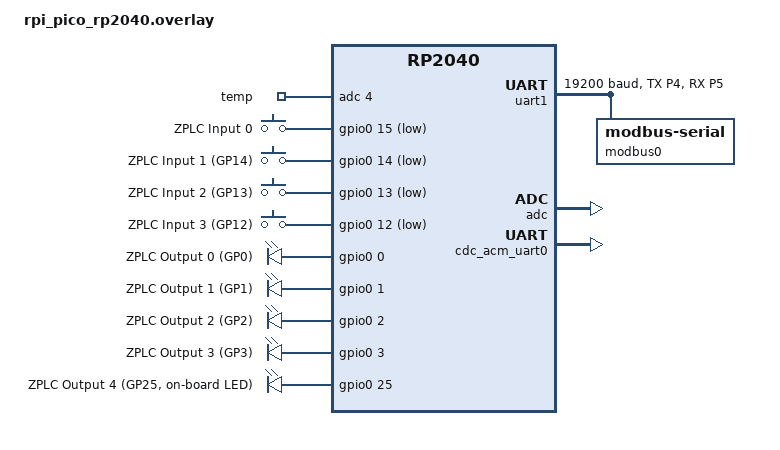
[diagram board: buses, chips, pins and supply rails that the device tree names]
/*
 * ZPLC Board Overlay - Raspberry Pi Pico (RP2040)
 * SPDX-License-Identifier: MIT
 *
 * The RPi Pico board defines led0 as the on-board LED (GP25). This profile
 * re-points led0 to GP0 so that DO0 to DO3 are four header pins, and maps the
 * on-board LED as led4 (DO4, %QX0.4).
 *
 * This overlay:
 *   - Enables USB CDC ACM as the console/shell interface
 *   - Maps four outputs (GP0-GP3) and the on-board LED (GP25)
 *   - Maps four inputs (GP15, GP14, GP13, GP12), switches to GND
 *   - Defines a storage partition for NVS (program persistence)
 *
 * The channels are listed, with their header pins and electrical notes, in the
 * I/O description of firmware/app/boards/boards.json (rpi-pico-rp2040); the
 * build fails when the description and this file disagree.
 *
 * Hardware connection:
 *   GP0..GP3   -> LED -> resistor -> GND   (outputs, header pins 1, 2, 4, 5)
 *   GP15..GP12 -> switch -> GND            (inputs, internal pull-up)
 *   GP4, GP5   -> Modbus RTU on UART1 (TX, RX; header pins 6, 7), 3.3 V logic:
 *                 an RS-485 transceiver or a 3.3 V USB-serial adapter
 *
 * UART0 of the board DTS (GP0, GP1) and I2C0 (GP4, GP5) are disabled: their pins
 * are DO0 and DO1, and the Modbus RTU port. The console stays on USB CDC ACM.
 *
 * Flash Layout (2MB total):
 *   0x000000 - 0x0000FF: second-stage bootloader
 *   0x000100 - 0x1DFFFF: Application code, code_partition (1920 KB less 256 bytes)
 *   0x1E0000 - 0x1FFFFF: NVS Storage (128 KB): two program slots of 24 KB, the two RETAIN records
 *                        and a spare sector, which 64 KB cannot hold (RT-025, RT-029)
 * The upstream code_partition runs to the end of the flash; it ends here before
 * the NVS storage, so the linker refuses an image that would grow into it (IO-008).
 */

/ {
    chosen {
        /* Use USB CDC ACM for console and shell */
        zephyr,console = &cdc_acm_uart0;
        zephyr,shell-uart = &cdc_acm_uart0;
    };

    zephyr,user {
        /* ADC channel 4 is the internal temperature sensor on RP2040 */
        io-channels = <&adc 4>;
        io-channel-names = "temp";
    };

    gpio_keys {
        compatible = "gpio-keys";
        
        /* User button on GPIO15 with internal pull-up */
        button0: button_0 {
            gpios = <&gpio0 15 (GPIO_PULL_UP | GPIO_ACTIVE_LOW)>;
            label = "ZPLC Input 0";
            zephyr,code = <0>;
        };
        button1: button_1 {
            gpios = <&gpio0 14 (GPIO_PULL_UP | GPIO_ACTIVE_LOW)>;
            label = "ZPLC Input 1 (GP14)";
            zephyr,code = <1>;
        };
        button2: button_2 {
            gpios = <&gpio0 13 (GPIO_PULL_UP | GPIO_ACTIVE_LOW)>;
            label = "ZPLC Input 2 (GP13)";
            zephyr,code = <2>;
        };
        button3: button_3 {
            gpios = <&gpio0 12 (GPIO_PULL_UP | GPIO_ACTIVE_LOW)>;
            label = "ZPLC Input 3 (GP12)";
            zephyr,code = <3>;
        };
    };
    
    leds {
        compatible = "gpio-leds";
        led0: led_0 {
            gpios = <&gpio0 0 GPIO_ACTIVE_HIGH>;
            label = "ZPLC Output 0 (GP0)";
        };
        led1: led_1 {
            gpios = <&gpio0 1 GPIO_ACTIVE_HIGH>;
            label = "ZPLC Output 1 (GP1)";
        };
        led2: led_2 {
            gpios = <&gpio0 2 GPIO_ACTIVE_HIGH>;
            label = "ZPLC Output 2 (GP2)";
        };
        led3: led_3 {
            gpios = <&gpio0 3 GPIO_ACTIVE_HIGH>;
            label = "ZPLC Output 3 (GP3)";
        };
        /* The on-board LED: led0 of the board DTS is re-pointed above, so it gets its own node (IO-009) */
        led4: led_4 {
            gpios = <&gpio0 25 GPIO_ACTIVE_HIGH>;
            label = "ZPLC Output 4 (GP25, on-board LED)";
        };
    };

    aliases {
        sw0 = &button0;
        sw1 = &button1;
        sw2 = &button2;
        sw3 = &button3;
        led4 = &led4;
        led0 = &led0;
        led1 = &led1;
        led2 = &led2;
        led3 = &led3;
    };
};

/* UART0 sits on GP0 and GP1, which are DO0 and DO1 of this profile */
&uart0 {
    status = "disabled";
};

/* I2C0 sits on GP4 and GP5, which carry the Modbus RTU port */
&i2c0 {
    status = "disabled";
};

&pinctrl {
    uart1_default: uart1_default {
        group1 {
            pinmux = <UART1_TX_P4>;
        };

        group2 {
            pinmux = <UART1_RX_P5>;
            input-enable;
        };
    };
};

/* Modbus RTU (COM-012, HIL-010): UART1 on GP4 (TX, header pin 6) and GP5 (RX, header pin 7) */
&uart1 {
    status = "okay";
    current-speed = <19200>;
    pinctrl-0 = <&uart1_default>;
    pinctrl-names = "default";

    modbus0: modbus0 {
        compatible = "zephyr,modbus-serial";
        status = "okay";
    };
};

/* Enable ADC for analog input */
&adc {
    status = "okay";
    #address-cells = <1>;
    #size-cells = <0>;
};

/* Define flash partitions for NVS storage */
&flash0 {
    partitions {
        compatible = "fixed-partitions";
        #address-cells = <1>;
        #size-cells = <1>;

        /*
         * Storage partition for NVS (Non-Volatile Storage), at the end of the flash: 128 KB for the two program
         * slots of CONFIG_ZPLC_CODE_SIZE_MAX, the two RETAIN records and the device settings, with a spare sector
         */
        storage_partition: partition@1e0000 {
            label = "storage";
            reg = <0x1e0000 0x20000>;
        };
    };
};

/* The image slot ends where the NVS storage begins (IO-008). */
&code_partition {
    reg = <0x100 (0x1e0000 - 0x100)>;
};

/* Enable USB and configure CDC ACM device */
&zephyr_udc0 {
    cdc_acm_uart0: cdc_acm_uart0 {
        compatible = "zephyr,cdc-acm-uart";
    };
};
